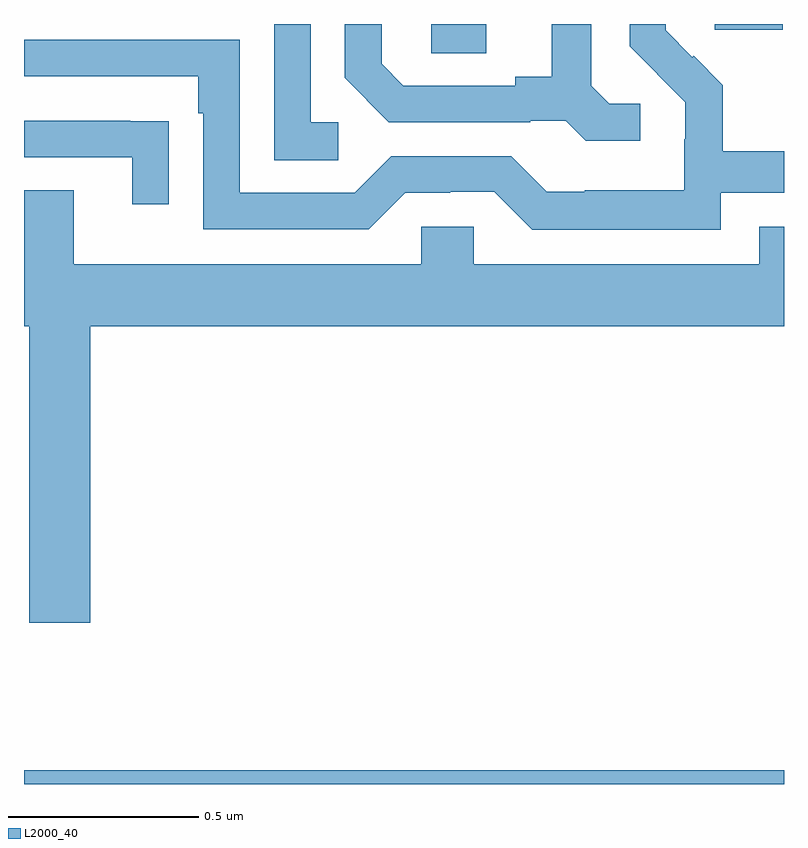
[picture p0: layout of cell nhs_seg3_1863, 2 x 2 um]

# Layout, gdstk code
import gdstk
lib = gdstk.Library(unit=1e-6, precision=1e-09)
def R(c, l, rs):  # rectangles x0, y0, x1, y1
    for r in rs: c.add(gdstk.rectangle(r[:2], r[2:], *l))
def P(c, l, *ps):  # polygons
    for p in ps: c.add(gdstk.Polygon(p, *l))
L2000_40 = (2000, 40)

nhs_seg3_1863 = lib.new_cell('nhs_seg3_1863')
R(nhs_seg3_1863, L2000_40, [(134,678.4,136,678.436), (135.072,680.323,135.217,680.4), (135.818,680.385,135.997,680.4)])
P(nhs_seg3_1863, L2000_40, [(134.827,680.142),(134.754,680.142),(134.754,680.4),(134.658,680.4),(134.658,680.041),(134.827,680.041)],
  [(135.834,679.956),(136,679.956),(136,680.065),(135.839,680.065),(135.839,680.239),(135.762,680.316),(135.759,680.313),(135.689,680.384),(135.689,680.4),(135.594,680.4),(135.594,680.342),(135.667,680.269),(135.666,680.268),(135.74,680.194),(135.74,680.097),(135.738,680.097),(135.738,679.963),(135.475,679.963),(135.475,679.959),(135.375,679.959),(135.282,680.052),(134.967,680.052),(134.871,679.956),(134.568,679.956),(134.568,680.358),(134,680.358),(134,680.262),(134.459,680.262),(134.459,680.165),(134.472,680.165),(134.472,679.86),(134.907,679.86),(135.003,679.956),(135.122,679.956),(135.122,679.959),(135.237,679.959),(135.337,679.859),(135.834,679.859)],
  [(135.622,680.19),(135.54,680.19),(135.493,680.237),(135.493,680.4),(135.389,680.4),(135.389,680.261),(135.293,680.261),(135.293,680.238),(134.998,680.238),(134.941,680.295),(134.941,680.4),(134.844,680.4),(134.844,680.258),(134.96,680.142),(135.332,680.142),(135.332,680.145),(135.426,680.145),(135.478,680.093),(135.622,680.093)],
  [(134.381,680.144),(134.279,680.144),(134.279,680.145),(134,680.145),(134,680.049),(134.285,680.049),(134.285,679.926),(134.381,679.926)],
  [(134.174,679.604),(136,679.604),(136,679.867),(135.935,679.867),(135.935,679.768),(135.183,679.768),(135.183,679.866),(135.045,679.866),(135.045,679.768),(134.131,679.768),(134.131,679.963),(134,679.963),(134,679.604),(134.014,679.604),(134.014,678.825),(134.174,678.825)])

lib.write_gds('nhs_seg3_1863.gds')
